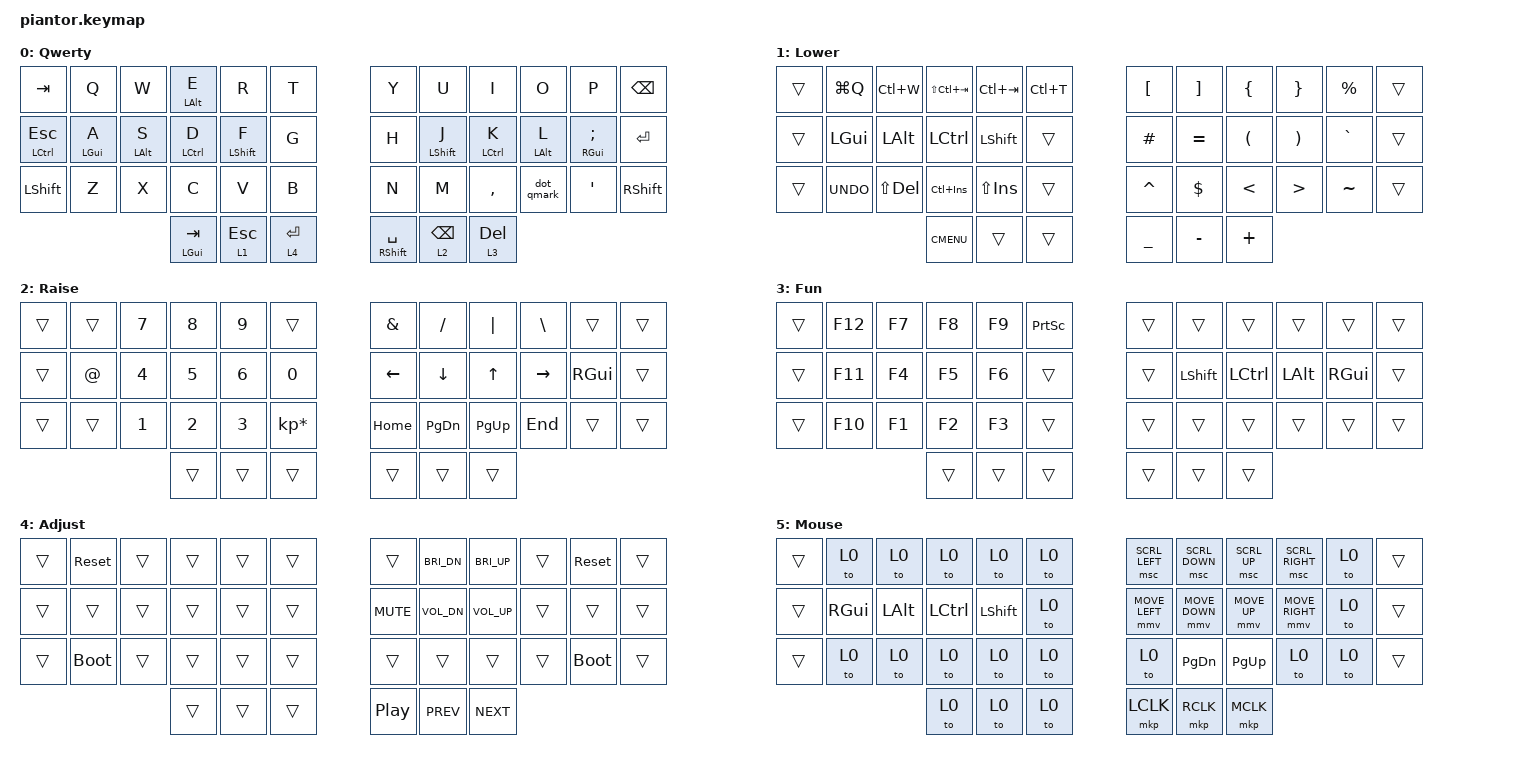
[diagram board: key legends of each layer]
#include <behaviors.dtsi>
#include <dt-bindings/zmk/keys.h>
#include <dt-bindings/zmk/pointing.h>

/* #include <dt-bindings/zmk/pointing.h> */
// MEH LC(LS(LALT))
// U_CUT LS(DEL)
// U_COPY LC(INS)
// U_PASTE LS(INS)

/ {
    behaviors {
        hml: hml {
            compatible = "zmk,behavior-hold-tap";
            label = "HML";
            bindings = <&kp>, <&kp>;

            #binding-cells = <2>;
            tapping-term-ms = <280>;
            quick-tap-ms = <175>;
            require-prior-idle-ms = <150>;
            flavor = "balanced";
            hold-trigger-key-positions = <7 8>;
            hold-trigger-on-release;
        };

        hmr: hmr {
            compatible = "zmk,behavior-hold-tap";
            label = "HMR";
            bindings = <&kp>, <&kp>;

            #binding-cells = <2>;
            tapping-term-ms = <280>;
            quick-tap-ms = <175>;
            require-prior-idle-ms = <150>;
            flavor = "balanced";
            hold-trigger-on-release;
            hold-trigger-key-positions = <7 8>;
        };

        tm: tm {
            compatible = "zmk,behavior-hold-tap";
            label = "THUMB_MODS";
            bindings = <&kp>, <&kp>;

            #binding-cells = <2>;
            flavor = "balanced";
            tapping-term-ms = <200>;
            quick-tap-ms = <175>;
            retro-tap;
        };

        dot_qmark: dot_qmark {
            compatible = "zmk,behavior-mod-morph";
            label = "DOT_QMARK";
            bindings = <&kp DOT>, <&kp QMARK>;

            #binding-cells = <0>;
            mods = <(MOD_LSFT|MOD_RSFT)>;
        };

        comma_excl: comma_excl {
            compatible = "zmk,behavior-mod-morph";
            label = "COMMA_EXCL";
            bindings = <&kp COMMA>, <&kp EXCL>;

            #binding-cells = <0>;
            mods = <(MOD_LSFT|MOD_RSFT)>;
        };
    };

    combos {
        compatible = "zmk,combos";

        combo_caps_word {
            timeout-ms = <50>;
            key-positions = <19 16>;
            bindings = <&caps_word>;
            layers = <0>;
        };

        combo_mouse {
            timeout-ms = <50>;
            key-positions = <40 41>;
            bindings = <&to 5>;
            layers = <0>;
        };

        combo_equal {
            timeout-ms = <50>;
            key-positions = <18 19>;
            bindings = <&kp EQUAL>;
            layers = <0>;
        };

        // [

        combo_lbkt {
            timeout-ms = <50>;
            key-positions = <7 19>;
            bindings = <&kp LBKT>;
            layers = <0>;
        };

        // ]

        combo_rbkt {
            timeout-ms = <50>;
            key-positions = <9 21>;
            bindings = <&kp RBKT>;
            layers = <0>;
        };

        // {

        combo_lbrc {
            timeout-ms = <50>;
            key-positions = <8 7>;
            bindings = <&kp LBRC>;
            layers = <0>;
        };

        // }

        combo_rbrc {
            timeout-ms = <50>;
            key-positions = <8 9>;
            bindings = <&kp RBRC>;
            layers = <0>;
        };

        // (

        combo_lpar {
            timeout-ms = <50>;
            key-positions = <19 20>;
            bindings = <&kp LPAR>;
            layers = <0>;
        };

        // )

        combo_rpar {
            timeout-ms = <50>;
            key-positions = <20 21>;
            bindings = <&kp RPAR>;
            layers = <0>;
        };

        // <

        combo_lt {
            timeout-ms = <50>;
            key-positions = <31 32>;
            bindings = <&kp LT>;
            layers = <0>;
        };

        // >

        combo_gt {
            timeout-ms = <50>;
            key-positions = <32 33>;
            bindings = <&kp GT>;
            layers = <0>;
        };

        /* combo_to_querty { */
        /*     bindings = <&to 6>; */
        /*     key-positions = <8 3>; */
        /*     timeout-ms = <50>; */
        /*     layers = <0>; */
        /* }; */
        /**/
        /* combo_to_base { */
        /*     bindings = <&to 0>; */
        /*     key-positions = <8 3>; */
        /*     timeout-ms = <50>; */
        /*     layers = <6>; */
        /* }; */

        dot_spc {
            bindings = <&dot_spc>;
            key-positions = <38 39>;
            layers = <0>;
        };
    };

    macros {
        dot_spc: dot_spc {
            compatible = "zmk,behavior-macro";
            #binding-cells = <0>;
            bindings = <&kp DOT &kp SPACE &sk LEFT_SHIFT>;
            label = "DOT_SPC";
            tap-ms = <5>;
            wait-ms = <0>;
        };
    };

    keymap {
        compatible = "zmk,keymap";

        Qwerty {
            bindings = <
&kp TAB        &kp Q        &kp W        &hml LALT E   &kp R         &kp T        &kp Y            &kp U         &kp I         &kp O          &kp P        &kp BSPC
&mt LCTRL ESC  &hml LGUI A  &hml LALT S  &hml LCTRL D  &hml LSHFT F  &kp G        &kp H            &hmr LSHFT J  &hmr LCTRL K  &hmr LALT L    &hmr RGUI SEMI  &kp RET
&kp LSHFT      &kp Z        &kp X        &kp C         &kp V         &kp B        &kp N            &kp M         &kp COMMA     &dot_qmark     &kp SQT &kp RSHFT
                                         &tm LGUI TAB  &lt 1 ESC     &lt 4 RET    &tm RSHFT SPACE  &lt 2 BSPC    &lt 3 DEL
            >;
        };

/*         Base { */
/*             // Gallium colstag */
/**/
/*             bindings = < */
/* &kp TAB        &kp B        &kp L        &hml LALT D   &kp C         &kp V        &kp J            &kp Y         &kp O         &kp U          &comma_excl  &kp BSPC */
/* &mt LCTRL ESC  &hml LGUI N  &hml LALT R  &hml LCTRL T  &hml LSHFT S  &kp G        &kp P            &hmr LSHFT H  &hmr LCTRL A  &hmr LALT E    &hmr RGUI I  &kp RET */
/* &kp LSHFT      &kp X        &kp Q        &kp M         &kp W         &kp Z        &kp K            &kp F         &kp SQT       &kp SEMICOLON  &dot_qmark   &kp RSHFT */
/*                                          &tm LGUI TAB  &lt 1 ESC     &lt 4 RET    &tm RSHFT SPACE  &lt 2 BSPC    &lt 3 DEL */
/*             >; */
/*         }; */

        Lower {
            bindings = <
&trans  &kp LG(Q)   &kp LC(W)    &kp LS(LC(TAB))  &kp LC(TAB)  &kp LC(T)    &kp LBKT        &kp RBKT    &kp LBRC  &kp RBRC  &kp PRCNT  &trans
&trans  &kp LGUI    &kp LALT     &kp LCTRL        &kp LSHFT    &trans       &kp HASH        &kp EQUAL   &kp LPAR  &kp RPAR  &kp GRAVE  &trans
&trans  &kp K_UNDO  &kp LS(DEL)  &kp LC(INS)      &kp LS(INS)  &trans       &kp CARET       &kp DOLLAR  &kp LT    &kp GT    &kp TILDE  &trans
                                 &kp K_CMENU      &trans       &trans       &kp UNDERSCORE  &kp MINUS   &kp PLUS
            >;
        };

        Raise {
            bindings = <
&trans  &trans  &kp N7  &kp N8  &kp N9  &trans             &kp AMPS  &kp FSLH   &kp PIPE   &kp BSLH   &trans    &trans
&trans  &kp AT  &kp N4  &kp N5  &kp N6  &kp N0             &kp LEFT  &kp DOWN   &kp UP     &kp RIGHT  &kp RGUI  &trans
&trans  &trans  &kp N1  &kp N2  &kp N3  &kp KP_MULTIPLY    &kp HOME  &kp PG_DN  &kp PG_UP  &kp END    &trans    &trans
                        &trans  &trans  &trans             &trans    &trans     &trans
            >;
        };

        Fun {
            bindings = <
&trans  &kp F12  &kp F7  &kp F8  &kp F9  &kp PSCRN    &trans  &trans     &trans     &trans    &trans    &trans
&trans  &kp F11  &kp F4  &kp F5  &kp F6  &trans       &trans  &kp LSHFT  &kp LCTRL  &kp LALT  &kp RGUI  &trans
&trans  &kp F10  &kp F1  &kp F2  &kp F3  &trans       &trans  &trans     &trans     &trans    &trans    &trans
                         &trans  &trans  &trans       &trans  &trans     &trans
            >;
        };

        Adjust {
            bindings = <
&trans  &sys_reset   &trans  &trans  &trans  &trans    &trans      &kp C_BRI_DN  &kp C_BRI_UP  &trans  &sys_reset   &trans
&trans  &trans       &trans  &trans  &trans  &trans    &kp C_MUTE  &kp C_VOL_DN  &kp C_VOL_UP  &trans  &trans       &trans
&trans  &bootloader  &trans  &trans  &trans  &trans    &trans      &trans        &trans        &trans  &bootloader  &trans
                             &trans  &trans  &trans    &kp C_PP    &kp C_PREV    &kp C_NEXT
            >;
        };

        Mouse {
            bindings = <
&trans  &to 0     &to 0     &to 0      &to 0      &to 0    &msc SCRL_LEFT  &msc SCRL_DOWN  &msc SCRL_UP  &msc SCRL_RIGHT  &to 0  &trans
&trans  &kp RGUI  &kp LALT  &kp LCTRL  &kp LSHFT  &to 0    &mmv MOVE_LEFT  &mmv MOVE_DOWN  &mmv MOVE_UP  &mmv MOVE_RIGHT  &to 0  &trans
&trans  &to 0     &to 0     &to 0      &to 0      &to 0    &to 0           &kp PG_DN       &kp PG_UP     &to 0            &to 0  &trans
                            &to 0      &to 0      &to 0    &mkp LCLK       &mkp RCLK       &mkp MCLK
            >;
        };

    };
};
